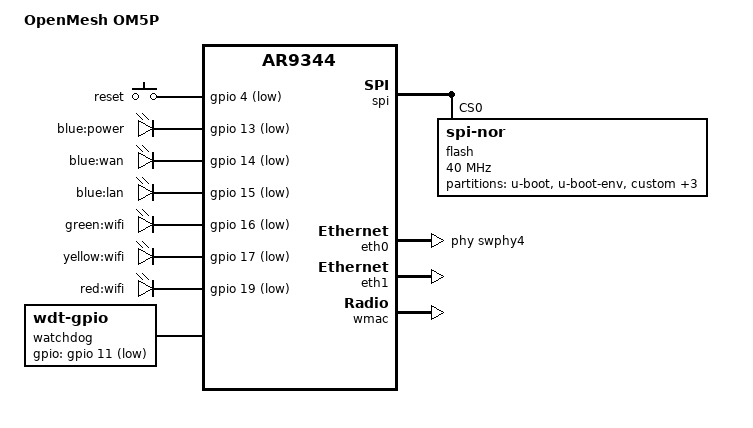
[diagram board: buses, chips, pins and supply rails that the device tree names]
// SPDX-License-Identifier: GPL-2.0-or-later OR MIT

#include "ar9344.dtsi"

#include <dt-bindings/gpio/gpio.h>
#include <dt-bindings/input/input.h>

/ {
	compatible = "openmesh,om5p", "qca,ar9344";
	model = "OpenMesh OM5P";

	chosen {
		/delete-property/ bootargs;
	};

	aliases {
		led-boot = &led_power_blue;
		led-failsafe = &led_power_blue;
		led-running = &led_power_blue;
		led-upgrade = &led_power_blue;
		label-mac-device = &eth1;
	};

	keys {
		compatible = "gpio-keys";

		reset {
			label = "reset";
			linux,code = <KEY_RESTART>;
			gpios = <&gpio 4 GPIO_ACTIVE_LOW>;
		};
	};

	leds {
		compatible = "gpio-leds";

		pinctrl-names = "default";
		pinctrl-0 = <&led_lan_wan_blue_pin>;

		led_power_blue: power_blue {
			label = "blue:power";
			gpios = <&gpio 13 GPIO_ACTIVE_LOW>;
			default-state = "on";
		};

		wan_blue {
			label = "blue:wan";
			gpios = <&gpio 14 GPIO_ACTIVE_LOW>;
		};

		lan_blue {
			label = "blue:lan";
			gpios = <&gpio 15 GPIO_ACTIVE_LOW>;
		};

		wifi_green {
			label = "green:wifi";
			gpios = <&gpio 16 GPIO_ACTIVE_LOW>;
			linux,default-trigger = "phy0tpt";
		};

		wifi_yellow {
			label = "yellow:wifi";
			gpios = <&gpio 17 GPIO_ACTIVE_LOW>;
		};

		wifi_red {
			label = "red:wifi";
			gpios = <&gpio 19 GPIO_ACTIVE_LOW>;
		};
	};

	watchdog {
		compatible = "linux,wdt-gpio";
		gpios = <&gpio 11 GPIO_ACTIVE_LOW>;
		hw_algo = "toggle";
		/* hw_margin_ms is actually 300s but driver limits it to 60s */
		hw_margin_ms = <60000>;
		always-running;
	};
};

&ref {
	clock-frequency = <40000000>;
};

&pinmux {
	led_lan_wan_blue_pin: pinmux_lan_wan_blue_pin {
		pinctrl-single,bits = <0xc 0x0 0xffff0000>;
	};
};

&spi {
	status = "okay";

	flash@0 {
		compatible = "jedec,spi-nor";
		reg = <0>;
		spi-max-frequency = <40000000>;

		/* partitions are passed via bootloader */
		partitions {
			compatible = "fixed-partitions";
			#address-cells = <1>;
			#size-cells = <1>;

			partition@0 {
				label = "u-boot";
				reg = <0x000000 0x040000>;
				read-only;
			};

			partition@40000 {
				label = "u-boot-env";
				reg = <0x040000 0x010000>;
			};

			partition@50000 {
				label = "custom";
				reg = <0x050000 0x060000>;
				read-only;
			};

			partition@b0000 {
				label = "inactive";
				reg = <0x0b0000 0x7a0000>;
			};

			partition@850000 {
				label = "inactive2";
				reg = <0x850000 0x7a0000>;
			};

			art: partition@ff0000 {
				label = "ART";
				reg = <0xff0000 0x010000>;
				read-only;
			};
		};
	};
};

&eth0 {
	status = "okay";

	phy-handle = <&swphy4>;

	mtd-mac-address = <&art 0x6>;
};

&eth1 {
	status = "okay";

	mtd-mac-address = <&art 0x0>;
};

&wmac {
	status = "okay";

	mtd-cal-data = <&art 0x1000>;
};
